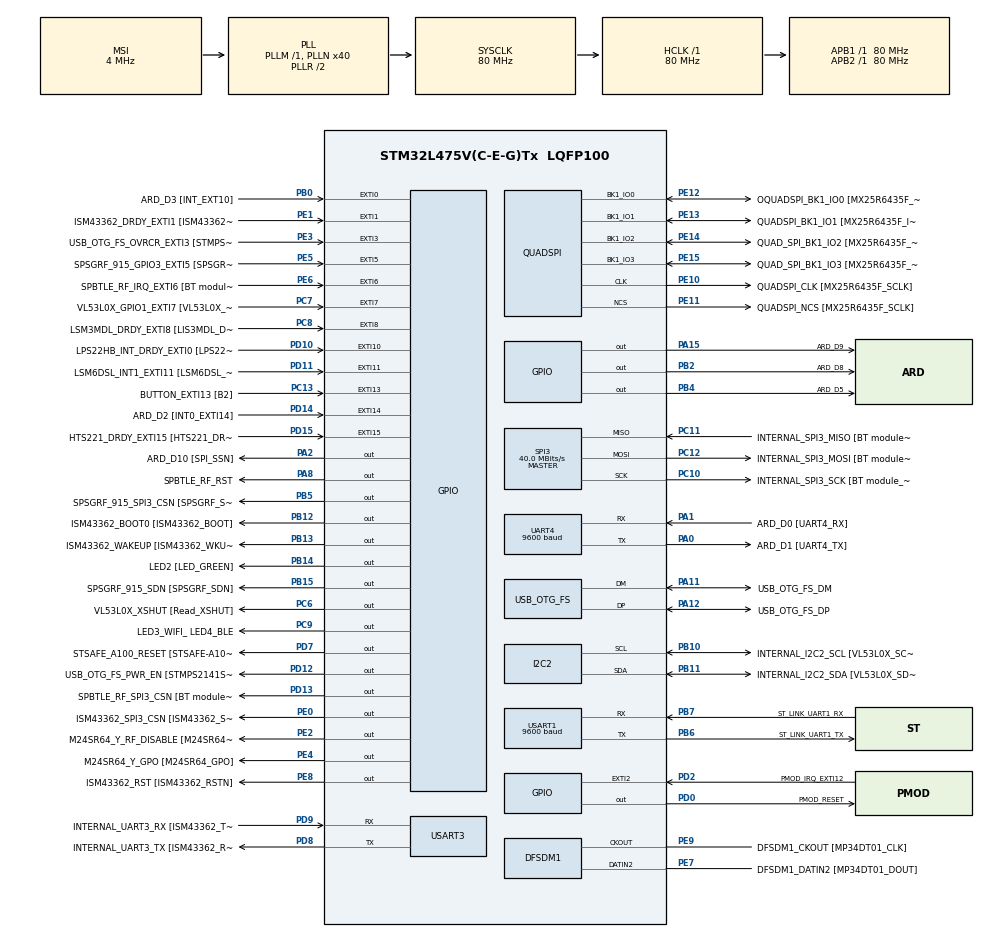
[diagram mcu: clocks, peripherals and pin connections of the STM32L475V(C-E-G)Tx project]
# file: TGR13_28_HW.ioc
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Mcu.Family=STM32L4
Mcu.Name=STM32L475V(C-E-G)Tx
Mcu.Package=LQFP100
NVIC.PriorityGroup=NVIC_PRIORITYGROUP_4
NVIC.TIM6_DAC_IRQn=true\:1\:0\:true\:false\:true\:true
NVIC.UART4_IRQn=true\:3\:0\:true\:false\:true\:true
NVIC.USART1_IRQn=true\:2\:0\:true\:false\:true\:true
PA0.GPIO_Label=ARD_D1 [UART4_TX]
PA0.Mode=Asynchronous
PA0.Signal=UART4_TX
PA1.GPIO_Label=ARD_D0 [UART4_RX]
PA1.Mode=Asynchronous
PA1.Signal=UART4_RX
PA10.GPIO_Label=USB_OTG_FS_ID
PA10.Signal=USB_OTG_FS_ID
PA11.GPIO_Label=USB_OTG_FS_DM
PA11.Mode=Device_Only
PA11.Signal=USB_OTG_FS_DM
PA12.GPIO_Label=USB_OTG_FS_DP
PA12.Mode=Device_Only
PA12.Signal=USB_OTG_FS_DP
PA13\ (JTMS-SWDIO).GPIO_Label=SYS_JTMS_SWDIO
PA13\ (JTMS-SWDIO).Mode=Serial_Wire
PA13\ (JTMS-SWDIO).Signal=SYS_JTMS-SWDIO
PA14\ (JTCK-SWCLK).GPIO_Label=SYS_JTCK_SWCLK
PA14\ (JTCK-SWCLK).Mode=Serial_Wire
PA14\ (JTCK-SWCLK).Signal=SYS_JTCK-SWCLK
PA15\ (JTDI).GPIO_Label=ARD_D9
PA15\ (JTDI).Signal=GPIO_Output
PA2.GPIO_Label=ARD_D10 [SPI_SSN]
PA2.Signal=GPIO_Output
PA3.GPIO_Label=ARD_D4
PA3.Signal=S_TIM2_CH4
PA4.GPIO_Label=ARD_D7
PA4.Signal=ADCx_IN9
PA5.GPIO_Label=ARD_D13 [SPI1_SCK]
PA5.Signal=SPI1_SCK
PA6.GPIO_Label=ARD_D12 [SPI1_MISO]
PA6.Signal=SPI1_MISO
PA7.GPIO_Label=ARD_D11 [SPI1_MOSI]
PA7.Signal=SPI1_MOSI
PA8.GPIO_Label=SPBTLE_RF_RST
PA8.Signal=GPIO_Output
PA9.GPIO_Label=USB_OTG_FS_VBUS [STMPS2141STR_OUT]
PA9.Signal=USB_OTG_FS_VBUS
PB0.GPIO_Label=ARD_D3 [INT_EXT10]
PB0.Signal=GPXTI0
PB1.GPIO_Label=ARD_D6 [ADC1_IN6]
PB1.Signal=ADCx_IN16
PB10.GPIO_Label=INTERNAL_I2C2_SCL [VL53L0X_SCL]
PB10.Mode=I2C
PB10.Signal=I2C2_SCL
PB11.GPIO_Label=INTERNAL_I2C2_SDA [VL53L0X_SDA]
PB11.Mode=I2C
PB11.Signal=I2C2_SDA
PB12.GPIO_Label=ISM43362_BOOT0 [ISM43362_BOOT]
PB12.Signal=GPIO_Output
PB13.GPIO_Label=ISM43362_WAKEUP [ISM43362_WKUP]
PB13.Signal=GPIO_Output
PB14.GPIO_Label=LED2 [LED_GREEN]
PB14.Signal=GPIO_Output
PB15.GPIO_Label=SPSGRF_915_SDN [SPSGRF_SDN]
PB15.Signal=GPIO_Output
PB2.GPIO_Label=ARD_D8
PB2.Signal=GPIO_Output
PB3\ (JTDO-TRACESWO).GPIO_Label=SYS_JTD0_SWO
PB3\ (JTDO-TRACESWO).Signal=SYS_JTDO-SWO
PB4\ (NJTRST).GPIO_Label=ARD_D5
PB4\ (NJTRST).Signal=GPIO_Output
PB5.GPIO_Label=SPSGRF_915_SPI3_CSN [SPSGRF_SPI_CS]
PB5.Signal=GPIO_Output
PB6.GPIO_Label=ST_LINK_UART1_TX
PB6.Mode=Asynchronous
PB6.Signal=USART1_TX
PB7.GPIO_Label=ST_LINK_UART1_RX
PB7.Mode=Asynchronous
PB7.Signal=USART1_RX
PB8.GPIO_Label=ARD_D15 [I2C1_SCL]
PB8.Signal=I2C1_SCL
PB9.GPIO_Label=ARD_D14 [I2C1_SDA]
PB9.Signal=I2C1_SDA
PC0.GPIO_Label=ARD_A5 [ADC]
PC0.Signal=ADCx_IN1
PC1.GPIO_Label=ARD_A4 [ADC]
PC1.Signal=ADCx_IN2
PC10.GPIO_Label=INTERNAL_SPI3_SCK [BT module_SPI_SCLK]
PC10.Mode=Full_Duplex_Master
PC10.Signal=SPI3_SCK
PC11.GPIO_Label=INTERNAL_SPI3_MISO [BT module_SPI_MISO]
PC11.Mode=Full_Duplex_Master
PC11.Signal=SPI3_MISO
PC12.GPIO_Label=INTERNAL_SPI3_MOSI [BT module_SPI_MOSI]
PC12.Mode=Full_Duplex_Master
PC12.Signal=SPI3_MOSI
PC13.GPIO_Label=BUTTON_EXTI13 [B2]
PC13.GPIO_ModeDefaultEXTI=GPIO_MODE_IT_FALLING
PC13.Signal=GPXTI13
PC14-OSC32_IN\ (PC14).Mode=LSE-External-Oscillator
PC14-OSC32_IN\ (PC14).Signal=RCC_OSC32_IN
PC15-OSC32_OUT\ (PC15).Mode=LSE-External-Oscillator
PC15-OSC32_OUT\ (PC15).Signal=RCC_OSC32_OUT
PC2.GPIO_Label=ARD_A3 [ADC]
PC2.Signal=ADCx_IN3
PC3.GPIO_Label=ARD_A2 [ADC]
PC3.Signal=ADCx_IN4
PC4.GPIO_Label=ARD_A1 [ADC]
PC4.Signal=ADCx_IN13
PC5.GPIO_Label=ARD_A0 [ADC]
PC5.Signal=ADCx_IN14
PC6.GPIO_Label=VL53L0X_XSHUT [Read_XSHUT]
PC6.Signal=GPIO_Output
PC7.GPIO_Label=VL53L0X_GPIO1_EXTI7 [VL53L0X_GPIO1]
PC7.Signal=GPXTI7
PC8.GPIO_Label=LSM3MDL_DRDY_EXTI8 [LIS3MDL_DRDY]
PC8.Signal=GPXTI8
PC9.GPIO_Label=LED3_WIFI_ LED4_BLE
PC9.Signal=GPIO_Output
PD0.GPIO_Label=PMOD_RESET
PD0.Signal=GPIO_Output
PD1.GPIO_Label=PMOD_SPI2_SCK
PD1.Signal=SPI2_SCK
PD10.GPIO_Label=LPS22HB_INT_DRDY_EXTI0 [LPS22HB_INT_DRDY] 
PD10.Signal=GPXTI10
PD11.GPIO_Label=LSM6DSL_INT1_EXTI11 [LSM6DSL_INT1]
PD11.Signal=GPXTI11
PD12.GPIO_Label=USB_OTG_FS_PWR_EN [STMPS2141STR_EN]
PD12.Signal=GPIO_Output
PD13.GPIO_Label=SPBTLE_RF_SPI3_CSN [BT module_SPI_CS]
PD13.Signal=GPIO_Output
PD14.GPIO_Label=ARD_D2 [INT0_EXTI14]
PD14.Signal=GPXTI14
PD15.GPIO_Label=HTS221_DRDY_EXTI15 [HTS221_DRDY]
PD15.Signal=GPXTI15
PD2.GPIO_Label=PMOD_IRQ_EXTI12
PD2.Signal=GPXTI2
PD3.GPIO_Label=PMOD_UART2_CTS
PD3.Signal=USART2_CTS
PD4.GPIO_Label=PMOD_UART2_RTS
PD4.Signal=USART2_RTS
PD5.GPIO_Label=PMOD_UART2_TX
PD5.Signal=USART2_TX
PD6.GPIO_Label=PMOD_UART2_RX
PD6.Signal=USART2_RX
PD7.GPIO_Label=STSAFE_A100_RESET [STSAFE-A100_RESET]
PD7.Signal=GPIO_Output
PD8.GPIO_Label=INTERNAL_UART3_TX [ISM43362_RX]
PD8.Mode=Asynchronous
PD8.Signal=USART3_TX
PD9.GPIO_Label=INTERNAL_UART3_RX [ISM43362_TX]
PD9.Mode=Asynchronous
PD9.Signal=USART3_RX
PE0.GPIO_Label=ISM43362_SPI3_CSN [ISM43362_SSN]
PE0.Signal=GPIO_Output
PE1.GPIO_Label=ISM43362_DRDY_EXTI1 [ISM43362_DATARDY]
PE1.Signal=GPXTI1
PE10.GPIO_Label=QUADSPI_CLK [MX25R6435F_SCLK]
PE10.Mode=Single Bank
PE10.Signal=QUADSPI_CLK
PE11.GPIO_Label=QUADSPI_NCS [MX25R6435F_SCLK]
PE11.Mode=Single Bank
PE11.Signal=QUADSPI_NCS
PE12.GPIO_Label=OQUADSPI_BK1_IO0 [MX25R6435F_IO0]
PE12.Mode=Single Bank
PE12.Signal=QUADSPI_BK1_IO0
PE13.GPIO_Label=QUADSPI_BK1_IO1 [MX25R6435F_IO1]
PE13.Mode=Single Bank
PE13.Signal=QUADSPI_BK1_IO1
PE14.GPIO_Label=QUAD_SPI_BK1_IO2 [MX25R6435F_IO2]
PE14.Mode=Single Bank
PE14.Signal=QUADSPI_BK1_IO2
PE15.GPIO_Label=QUAD_SPI_BK1_IO3 [MX25R6435F_IO3]
PE15.Mode=Single Bank
PE15.Signal=QUADSPI_BK1_IO3
PE2.GPIO_Label=M24SR64_Y_RF_DISABLE [M24SR64_RFDIS]
PE2.Signal=GPIO_Output
PE3.GPIO_Label=USB_OTG_FS_OVRCR_EXTI3 [STMPS2141STR_FAULT]
PE3.Signal=GPXTI3
PE4.GPIO_Label=M24SR64_Y_GPO [M24SR64_GPO]
PE4.Signal=GPIO_Output
PE5.GPIO_Label=SPSGRF_915_GPIO3_EXTI5 [SPSGRF_GPIO_3]
PE5.Signal=GPXTI5
PE6.GPIO_Label=SPBTLE_RF_IRQ_EXTI6 [BT module_SPI_IRQ]
PE6.Signal=GPXTI6
PE7.GPIO_Label=DFSDM1_DATIN2 [MP34DT01_DOUT]
PE7.Signal=S_DATAIN2DFSDM1
PE8.GPIO_Label=ISM43362_RST [ISM43362_RSTN]
PE8.Signal=GPIO_Output
PE9.GPIO_Label=DFSDM1_CKOUT [MP34DT01_CLK]
PE9.Signal=S_CKOUTDFSDM1
ProjectManager.HeapSize=0x200
ProjectManager.StackSize=0x400
ProjectManager.TargetToolchain=TrueSTUDIO
RCC.ADCFreq_Value=48000000
RCC.AHBFreq_Value=80000000
RCC.APB1Freq_Value=80000000
RCC.APB1TimFreq_Value=80000000
RCC.APB2Freq_Value=80000000
RCC.APB2TimFreq_Value=80000000
RCC.CortexFreq_Value=80000000
RCC.HCLKFreq_Value=80000000
RCC.HSE_VALUE=8000000
RCC.HSI_VALUE=16000000
RCC.MSI_VALUE=4000000
RCC.PLLN=40
RCC.PLLSAI1N=24
RCC.SYSCLKFreq_VALUE=80000000
RCC.SYSCLKSource=RCC_SYSCLKSOURCE_PLLCLK
RCC.USBFreq_Value=48000000
RCC.VCOOutputFreq_Value=160000000
SH.ADCx_IN1.0=ADC1_IN1
SH.ADCx_IN13.0=ADC1_IN13
SH.ADCx_IN14.0=ADC1_IN14
SH.ADCx_IN16.0=ADC1_IN16
SH.ADCx_IN2.0=ADC1_IN2
SH.ADCx_IN3.0=ADC1_IN3
SH.ADCx_IN4.0=ADC1_IN4
SH.ADCx_IN9.0=ADC1_IN9
SH.S_CKOUTDFSDM1.0=DFSDM1_CKOUT,CKOUT
SH.S_CKOUTDFSDM1.1=DFSDM1_CKOUT,PDM_SPI_Input_from_ch12_and_Internal_Clock
SH.S_DATAIN2DFSDM1.0=DFSDM1_DATIN2,PDM_SPI_Input_from_ch12_and_Internal_Clock
SH.S_TIM2_CH4.0=TIM2_CH4
SPI3.CalculateBaudRate=40.0 MBits/s
SPI3.Direction=SPI_DIRECTION_2LINES
SPI3.Mode=SPI_MODE_MASTER
SPI3.VirtualType=VM_MASTER
TIM6.Period=40000
TIM6.Prescaler=999
UART4.BaudRate=9600
USART1.BaudRate=9600
USART1.VirtualMode-Asynchronous=VM_ASYNC
USART3.VirtualMode-Asynchronous=VM_ASYNC
USB_OTG_FS.VirtualMode=Device_Only
VP_TIM6_VS_ClockSourceINT.Mode=Enable_Timer
board=B-L475E-IOT01A

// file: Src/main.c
/* USER CODE BEGIN Header */
/**
  ******************************************************************************
  * @file           : main.c
  * @brief          : Main program body
  ******************************************************************************
  ** This notice applies to any and all portions of this file
  * that are not between comment pairs USER CODE BEGIN and
  * USER CODE END. Other portions of this file, whether
  * inserted by the user or by software development tools
  * are owned by their respective copyright owners.
  *
  * COPYRIGHT(c) 2019 STMicroelectronics
  *
  * Redistribution and use in source and binary forms, with or without modification,
  * are permitted provided that the following conditions are met:
  *   1. Redistributions of source code must retain the above copyright notice,
  *      this list of conditions and the following disclaimer.
  *   2. Redistributions in binary form must reproduce the above copyright notice,
  *      this list of conditions and the following disclaimer in the documentation
  *      and/or other materials provided with the distribution.
  *   3. Neither the name of STMicroelectronics nor the names of its contributors
  *      may be used to endorse or promote products derived from this software
  *      without specific prior written permission.
  *
  * THIS SOFTWARE IS PROVIDED BY THE COPYRIGHT HOLDERS AND CONTRIBUTORS "AS IS"
  * AND ANY EXPRESS OR IMPLIED WARRANTIES, INCLUDING, BUT NOT LIMITED TO, THE
  * IMPLIED WARRANTIES OF MERCHANTABILITY AND FITNESS FOR A PARTICULAR PURPOSE ARE
  * DISCLAIMED. IN NO EVENT SHALL THE COPYRIGHT HOLDER OR CONTRIBUTORS BE LIABLE
  * FOR ANY DIRECT, INDIRECT, INCIDENTAL, SPECIAL, EXEMPLARY, OR CONSEQUENTIAL
  * DAMAGES (INCLUDING, BUT NOT LIMITED TO, PROCUREMENT OF SUBSTITUTE GOODS OR
  * SERVICES; LOSS OF USE, DATA, OR PROFITS; OR BUSINESS INTERRUPTION) HOWEVER
  * CAUSED AND ON ANY THEORY OF LIABILITY, WHETHER IN CONTRACT, STRICT LIABILITY,
  * OR TORT (INCLUDING NEGLIGENCE OR OTHERWISE) ARISING IN ANY WAY OUT OF THE USE
  * OF THIS SOFTWARE, EVEN IF ADVISED OF THE POSSIBILITY OF SUCH DAMAGE.
  *
  ******************************************************************************
  */
/* USER CODE END Header */

#include "main.h"

/* USER CODE BEGIN Includes */
#include "stm32l475e_iot01.h"
#include "stm32l475e_iot01_tsensor.h"
#include "stm32l475e_iot01_hsensor.h"
#include <stdio.h>
#include <string.h>

/* USER CODE END Includes */

DFSDM_Channel_HandleTypeDef hdfsdm1_channel1;

I2C_HandleTypeDef hi2c2;

QSPI_HandleTypeDef hqspi;

SPI_HandleTypeDef hspi3;

TIM_HandleTypeDef htim6;

UART_HandleTypeDef huart4;
UART_HandleTypeDef huart1;
UART_HandleTypeDef huart3;

PCD_HandleTypeDef hpcd_USB_OTG_FS;

void SystemClock_Config(void);
static void MX_GPIO_Init(void);
static void MX_DFSDM1_Init(void);
static void MX_I2C2_Init(void);
static void MX_QUADSPI_Init(void);
static void MX_SPI3_Init(void);
static void MX_USART1_UART_Init(void);
static void MX_USART3_UART_Init(void);
static void MX_USB_OTG_FS_PCD_Init(void);
static void MX_TIM6_Init(void);
static void MX_UART4_Init(void);

/* USER CODE BEGIN 0 */
float Temp_Value;
extern uint8_t RX_BUFF1[0];
extern uint8_t RX_BUFF4[0];
/* USER CODE END 0 */

int main(void)
{

  /* MCU Configuration--------------------------------------------------------*/

  /* Reset of all peripherals, Initializes the Flash interface and the Systick. */
  HAL_Init();

  /* Configure the system clock */
  SystemClock_Config();

  /* Initialize all configured peripherals */
  MX_GPIO_Init();
  MX_DFSDM1_Init();
  MX_I2C2_Init();
  MX_QUADSPI_Init();
  MX_SPI3_Init();
  MX_USART1_UART_Init();
  MX_USART3_UART_Init();
  MX_USB_OTG_FS_PCD_Init();
  MX_TIM6_Init();
  MX_UART4_Init();
  /* USER CODE BEGIN 2 */
  BSP_TSENSOR_Init();

  HAL_UART_Transmit(&huart1,(uint8_t*)"\r\nAT\r\n",6,5000);
  __HAL_UART_ENABLE_IT(&huart1,UART_IT_RXNE);
  HAL_UART_Transmit(&huart4,(uint8_t*)"\r\nAT\r\n",6,5000);
  __HAL_UART_ENABLE_IT(&huart4,UART_IT_RXNE);
  HAL_TIM_Base_Start_IT(&htim6);
  /* USER CODE END 2 */

  /* Infinite loop */
  while (1)
  {

  }
}

void SystemClock_Config(void)
{
  RCC_OscInitTypeDef RCC_OscInitStruct = {0};
  RCC_ClkInitTypeDef RCC_ClkInitStruct = {0};
  RCC_PeriphCLKInitTypeDef PeriphClkInit = {0};

  /**Configure LSE Drive Capability
  */
  HAL_PWR_EnableBkUpAccess();
  __HAL_RCC_LSEDRIVE_CONFIG(RCC_LSEDRIVE_LOW);
  /**Initializes the CPU, AHB and APB busses clocks
  */
  RCC_OscInitStruct.OscillatorType = RCC_OSCILLATORTYPE_LSE|RCC_OSCILLATORTYPE_MSI;
  RCC_OscInitStruct.LSEState = RCC_LSE_ON;
  RCC_OscInitStruct.MSIState = RCC_MSI_ON;
  RCC_OscInitStruct.MSICalibrationValue = 0;
  RCC_OscInitStruct.MSIClockRange = RCC_MSIRANGE_6;
  RCC_OscInitStruct.PLL.PLLState = RCC_PLL_ON;
  RCC_OscInitStruct.PLL.PLLSource = RCC_PLLSOURCE_MSI;
  RCC_OscInitStruct.PLL.PLLM = 1;
  RCC_OscInitStruct.PLL.PLLN = 40;
  RCC_OscInitStruct.PLL.PLLP = RCC_PLLP_DIV7;
  RCC_OscInitStruct.PLL.PLLQ = RCC_PLLQ_DIV2;
  RCC_OscInitStruct.PLL.PLLR = RCC_PLLR_DIV2;
  if (HAL_RCC_OscConfig(&RCC_OscInitStruct) != HAL_OK)
  {
    Error_Handler();
  }
  /**Initializes the CPU, AHB and APB busses clocks
  */
  RCC_ClkInitStruct.ClockType = RCC_CLOCKTYPE_HCLK|RCC_CLOCKTYPE_SYSCLK
                              |RCC_CLOCKTYPE_PCLK1|RCC_CLOCKTYPE_PCLK2;
  RCC_ClkInitStruct.SYSCLKSource = RCC_SYSCLKSOURCE_PLLCLK;
  RCC_ClkInitStruct.AHBCLKDivider = RCC_SYSCLK_DIV1;
  RCC_ClkInitStruct.APB1CLKDivider = RCC_HCLK_DIV1;
  RCC_ClkInitStruct.APB2CLKDivider = RCC_HCLK_DIV1;

  if (HAL_RCC_ClockConfig(&RCC_ClkInitStruct, FLASH_LATENCY_4) != HAL_OK)
  {
    Error_Handler();
  }
  PeriphClkInit.PeriphClockSelection = RCC_PERIPHCLK_USART1|RCC_PERIPHCLK_USART3
                              |RCC_PERIPHCLK_UART4|RCC_PERIPHCLK_I2C2
                              |RCC_PERIPHCLK_DFSDM1|RCC_PERIPHCLK_USB;
  PeriphClkInit.Usart1ClockSelection = RCC_USART1CLKSOURCE_PCLK2;
  PeriphClkInit.Usart3ClockSelection = RCC_USART3CLKSOURCE_PCLK1;
  PeriphClkInit.Uart4ClockSelection = RCC_UART4CLKSOURCE_PCLK1;
  PeriphClkInit.I2c2ClockSelection = RCC_I2C2CLKSOURCE_PCLK1;
  PeriphClkInit.Dfsdm1ClockSelection = RCC_DFSDM1CLKSOURCE_PCLK;
  PeriphClkInit.UsbClockSelection = RCC_USBCLKSOURCE_PLLSAI1;
  PeriphClkInit.PLLSAI1.PLLSAI1Source = RCC_PLLSOURCE_MSI;
  PeriphClkInit.PLLSAI1.PLLSAI1M = 1;
  PeriphClkInit.PLLSAI1.PLLSAI1N = 24;
  PeriphClkInit.PLLSAI1.PLLSAI1P = RCC_PLLP_DIV7;
  PeriphClkInit.PLLSAI1.PLLSAI1Q = RCC_PLLQ_DIV2;
  PeriphClkInit.PLLSAI1.PLLSAI1R = RCC_PLLR_DIV2;
  PeriphClkInit.PLLSAI1.PLLSAI1ClockOut = RCC_PLLSAI1_48M2CLK;
  if (HAL_RCCEx_PeriphCLKConfig(&PeriphClkInit) != HAL_OK)
  {
    Error_Handler();
  }
  /**Configure the main internal regulator output voltage
  */
  if (HAL_PWREx_ControlVoltageScaling(PWR_REGULATOR_VOLTAGE_SCALE1) != HAL_OK)
  {
    Error_Handler();
  }
  /**Enable MSI Auto calibration
  */
  HAL_RCCEx_EnableMSIPLLMode();
}

static void MX_DFSDM1_Init(void)
{

  hdfsdm1_channel1.Instance = DFSDM1_Channel1;
  hdfsdm1_channel1.Init.OutputClock.Activation = ENABLE;
  hdfsdm1_channel1.Init.OutputClock.Selection = DFSDM_CHANNEL_OUTPUT_CLOCK_SYSTEM;
  hdfsdm1_channel1.Init.OutputClock.Divider = 2;
  hdfsdm1_channel1.Init.Input.Multiplexer = DFSDM_CHANNEL_EXTERNAL_INPUTS;
  hdfsdm1_channel1.Init.Input.DataPacking = DFSDM_CHANNEL_STANDARD_MODE;
  hdfsdm1_channel1.Init.Input.Pins = DFSDM_CHANNEL_FOLLOWING_CHANNEL_PINS;
  hdfsdm1_channel1.Init.SerialInterface.Type = DFSDM_CHANNEL_SPI_RISING;
  hdfsdm1_channel1.Init.SerialInterface.SpiClock = DFSDM_CHANNEL_SPI_CLOCK_INTERNAL;
  hdfsdm1_channel1.Init.Awd.FilterOrder = DFSDM_CHANNEL_FASTSINC_ORDER;
  hdfsdm1_channel1.Init.Awd.Oversampling = 1;
  hdfsdm1_channel1.Init.Offset = 0;
  hdfsdm1_channel1.Init.RightBitShift = 0x00;
  if (HAL_DFSDM_ChannelInit(&hdfsdm1_channel1) != HAL_OK)
  {
    Error_Handler();
  }

}

static void MX_I2C2_Init(void)
{

  hi2c2.Instance = I2C2;
  hi2c2.Init.Timing = 0x10909CEC;
  hi2c2.Init.OwnAddress1 = 0;
  hi2c2.Init.AddressingMode = I2C_ADDRESSINGMODE_7BIT;
  hi2c2.Init.DualAddressMode = I2C_DUALADDRESS_DISABLE;
  hi2c2.Init.OwnAddress2 = 0;
  hi2c2.Init.OwnAddress2Masks = I2C_OA2_NOMASK;
  hi2c2.Init.GeneralCallMode = I2C_GENERALCALL_DISABLE;
  hi2c2.Init.NoStretchMode = I2C_NOSTRETCH_DISABLE;
  if (HAL_I2C_Init(&hi2c2) != HAL_OK)
  {
    Error_Handler();
  }
  /**Configure Analogue filter
  */
  if (HAL_I2CEx_ConfigAnalogFilter(&hi2c2, I2C_ANALOGFILTER_ENABLE) != HAL_OK)
  {
    Error_Handler();
  }
  /**Configure Digital filter
  */
  if (HAL_I2CEx_ConfigDigitalFilter(&hi2c2, 0) != HAL_OK)
  {
    Error_Handler();
  }

}

static void MX_QUADSPI_Init(void)
{

  /* QUADSPI parameter configuration*/
  hqspi.Instance = QUADSPI;
  hqspi.Init.ClockPrescaler = 255;
  hqspi.Init.FifoThreshold = 1;
  hqspi.Init.SampleShifting = QSPI_SAMPLE_SHIFTING_NONE;
  hqspi.Init.FlashSize = 1;
  hqspi.Init.ChipSelectHighTime = QSPI_CS_HIGH_TIME_1_CYCLE;
  hqspi.Init.ClockMode = QSPI_CLOCK_MODE_0;
  if (HAL_QSPI_Init(&hqspi) != HAL_OK)
  {
    Error_Handler();
  }

}

static void MX_SPI3_Init(void)
{

  /* SPI3 parameter configuration*/
  hspi3.Instance = SPI3;
  hspi3.Init.Mode = SPI_MODE_MASTER;
  hspi3.Init.Direction = SPI_DIRECTION_2LINES;
  hspi3.Init.DataSize = SPI_DATASIZE_4BIT;
  hspi3.Init.CLKPolarity = SPI_POLARITY_LOW;
  hspi3.Init.CLKPhase = SPI_PHASE_1EDGE;
  hspi3.Init.NSS = SPI_NSS_SOFT;
  hspi3.Init.BaudRatePrescaler = SPI_BAUDRATEPRESCALER_2;
  hspi3.Init.FirstBit = SPI_FIRSTBIT_MSB;
  hspi3.Init.TIMode = SPI_TIMODE_DISABLE;
  hspi3.Init.CRCCalculation = SPI_CRCCALCULATION_DISABLE;
  hspi3.Init.CRCPolynomial = 7;
  hspi3.Init.CRCLength = SPI_CRC_LENGTH_DATASIZE;
  hspi3.Init.NSSPMode = SPI_NSS_PULSE_ENABLE;
  if (HAL_SPI_Init(&hspi3) != HAL_OK)
  {
    Error_Handler();
  }

}

static void MX_TIM6_Init(void)
{

  TIM_MasterConfigTypeDef sMasterConfig = {0};

  htim6.Instance = TIM6;
  htim6.Init.Prescaler = 999;
  htim6.Init.CounterMode = TIM_COUNTERMODE_UP;
  htim6.Init.Period = 40000;
  htim6.Init.AutoReloadPreload = TIM_AUTORELOAD_PRELOAD_DISABLE;
  if (HAL_TIM_Base_Init(&htim6) != HAL_OK)
  {
    Error_Handler();
  }
  sMasterConfig.MasterOutputTrigger = TIM_TRGO_RESET;
  sMasterConfig.MasterSlaveMode = TIM_MASTERSLAVEMODE_DISABLE;
  if (HAL_TIMEx_MasterConfigSynchronization(&htim6, &sMasterConfig) != HAL_OK)
  {
    Error_Handler();
  }

}

static void MX_UART4_Init(void)
{

  huart4.Instance = UART4;
  huart4.Init.BaudRate = 9600;
  huart4.Init.WordLength = UART_WORDLENGTH_8B;
  huart4.Init.StopBits = UART_STOPBITS_1;
  huart4.Init.Parity = UART_PARITY_NONE;
  huart4.Init.Mode = UART_MODE_TX_RX;
  huart4.Init.HwFlowCtl = UART_HWCONTROL_NONE;
  huart4.Init.OverSampling = UART_OVERSAMPLING_16;
  huart4.Init.OneBitSampling = UART_ONE_BIT_SAMPLE_DISABLE;
  huart4.AdvancedInit.AdvFeatureInit = UART_ADVFEATURE_NO_INIT;
  if (HAL_UART_Init(&huart4) != HAL_OK)
  {
    Error_Handler();
  }

}

static void MX_USART1_UART_Init(void)
{

  huart1.Instance = USART1;
  huart1.Init.BaudRate = 9600;
  huart1.Init.WordLength = UART_WORDLENGTH_8B;
  huart1.Init.StopBits = UART_STOPBITS_1;
  huart1.Init.Parity = UART_PARITY_NONE;
  huart1.Init.Mode = UART_MODE_TX_RX;
  huart1.Init.HwFlowCtl = UART_HWCONTROL_NONE;
  huart1.Init.OverSampling = UART_OVERSAMPLING_16;
  huart1.Init.OneBitSampling = UART_ONE_BIT_SAMPLE_DISABLE;
  huart1.AdvancedInit.AdvFeatureInit = UART_ADVFEATURE_NO_INIT;
  if (HAL_UART_Init(&huart1) != HAL_OK)
  {
    Error_Handler();
  }

}

static void MX_USART3_UART_Init(void)
{

  huart3.Instance = USART3;
  huart3.Init.BaudRate = 115200;
  huart3.Init.WordLength = UART_WORDLENGTH_8B;
  huart3.Init.StopBits = UART_STOPBITS_1;
  huart3.Init.Parity = UART_PARITY_NONE;
  huart3.Init.Mode = UART_MODE_TX_RX;
  huart3.Init.HwFlowCtl = UART_HWCONTROL_NONE;
  huart3.Init.OverSampling = UART_OVERSAMPLING_16;
  huart3.Init.OneBitSampling = UART_ONE_BIT_SAMPLE_DISABLE;
  huart3.AdvancedInit.AdvFeatureInit = UART_ADVFEATURE_NO_INIT;
  if (HAL_UART_Init(&huart3) != HAL_OK)
  {
    Error_Handler();
  }

}

static void MX_USB_OTG_FS_PCD_Init(void)
{

  hpcd_USB_OTG_FS.Instance = USB_OTG_FS;
  hpcd_USB_OTG_FS.Init.dev_endpoints = 6;
  hpcd_USB_OTG_FS.Init.speed = PCD_SPEED_FULL;
  hpcd_USB_OTG_FS.Init.ep0_mps = DEP0CTL_MPS_64;
  hpcd_USB_OTG_FS.Init.phy_itface = PCD_PHY_EMBEDDED;
  hpcd_USB_OTG_FS.Init.Sof_enable = DISABLE;
  hpcd_USB_OTG_FS.Init.low_power_enable = DISABLE;
  hpcd_USB_OTG_FS.Init.lpm_enable = DISABLE;
  hpcd_USB_OTG_FS.Init.battery_charging_enable = DISABLE;
  hpcd_USB_OTG_FS.Init.use_dedicated_ep1 = DISABLE;
  hpcd_USB_OTG_FS.Init.vbus_sensing_enable = DISABLE;
  if (HAL_PCD_Init(&hpcd_USB_OTG_FS) != HAL_OK)
  {
    Error_Handler();
  }

}

static void MX_GPIO_Init(void)
{
  GPIO_InitTypeDef GPIO_InitStruct = {0};

  /* GPIO Ports Clock Enable */
  __HAL_RCC_GPIOE_CLK_ENABLE();
  __HAL_RCC_GPIOC_CLK_ENABLE();
  __HAL_RCC_GPIOA_CLK_ENABLE();
  __HAL_RCC_GPIOB_CLK_ENABLE();
  __HAL_RCC_GPIOD_CLK_ENABLE();

  /*Configure GPIO pin Output Level */
  HAL_GPIO_WritePin(GPIOE, M24SR64_Y_RF_DISABLE_Pin|M24SR64_Y_GPO_Pin|ISM43362_RST_Pin|ISM43362_SPI3_CSN_Pin, GPIO_PIN_RESET);

  /*Configure GPIO pin Output Level */
  HAL_GPIO_WritePin(GPIOA, ARD_D10_Pin|SPBTLE_RF_RST_Pin|ARD_D9_Pin, GPIO_PIN_RESET);

  /*Configure GPIO pin Output Level */
  HAL_GPIO_WritePin(GPIOB, ARD_D8_Pin|ISM43362_BOOT0_Pin|ISM43362_WAKEUP_Pin|LED2_Pin
                          |SPSGRF_915_SDN_Pin|ARD_D5_Pin|SPSGRF_915_SPI3_CSN_Pin, GPIO_PIN_RESET);

  /*Configure GPIO pin Output Level */
  HAL_GPIO_WritePin(GPIOD, USB_OTG_FS_PWR_EN_Pin|SPBTLE_RF_SPI3_CSN_Pin|PMOD_RESET_Pin|STSAFE_A100_RESET_Pin, GPIO_PIN_RESET);

  /*Configure GPIO pin Output Level */
  HAL_GPIO_WritePin(GPIOC, VL53L0X_XSHUT_Pin|LED3_WIFI__LED4_BLE_Pin, GPIO_PIN_RESET);

  /*Configure GPIO pins : M24SR64_Y_RF_DISABLE_Pin M24SR64_Y_GPO_Pin ISM43362_RST_Pin ISM43362_SPI3_CSN_Pin */
  GPIO_InitStruct.Pin = M24SR64_Y_RF_DISABLE_Pin|M24SR64_Y_GPO_Pin|ISM43362_RST_Pin|ISM43362_SPI3_CSN_Pin;
  GPIO_InitStruct.Mode = GPIO_MODE_OUTPUT_PP;
  GPIO_InitStruct.Pull = GPIO_NOPULL;
  GPIO_InitStruct.Speed = GPIO_SPEED_FREQ_LOW;
  HAL_GPIO_Init(GPIOE, &GPIO_InitStruct);

  /*Configure GPIO pins : USB_OTG_FS_OVRCR_EXTI3_Pin SPSGRF_915_GPIO3_EXTI5_Pin SPBTLE_RF_IRQ_EXTI6_Pin ISM43362_DRDY_EXTI1_Pin */
  GPIO_InitStruct.Pin = USB_OTG_FS_OVRCR_EXTI3_Pin|SPSGRF_915_GPIO3_EXTI5_Pin|SPBTLE_RF_IRQ_EXTI6_Pin|ISM43362_DRDY_EXTI1_Pin;
  GPIO_InitStruct.Mode = GPIO_MODE_IT_RISING;
  GPIO_InitStruct.Pull = GPIO_NOPULL;
  HAL_GPIO_Init(GPIOE, &GPIO_InitStruct);

  /*Configure GPIO pin : BUTTON_EXTI13_Pin */
  GPIO_InitStruct.Pin = BUTTON_EXTI13_Pin;
  GPIO_InitStruct.Mode = GPIO_MODE_IT_FALLING;
  GPIO_InitStruct.Pull = GPIO_NOPULL;
  HAL_GPIO_Init(BUTTON_EXTI13_GPIO_Port, &GPIO_InitStruct);

  /*Configure GPIO pins : ARD_A5_Pin ARD_A4_Pin ARD_A3_Pin ARD_A2_Pin
                           ARD_A1_Pin ARD_A0_Pin */
  GPIO_InitStruct.Pin = ARD_A5_Pin|ARD_A4_Pin|ARD_A3_Pin|ARD_A2_Pin
                          |ARD_A1_Pin|ARD_A0_Pin;
  GPIO_InitStruct.Mode = GPIO_MODE_ANALOG_ADC_CONTROL;
  GPIO_InitStruct.Pull = GPIO_NOPULL;
  HAL_GPIO_Init(GPIOC, &GPIO_InitStruct);

  /*Configure GPIO pins : ARD_D10_Pin SPBTLE_RF_RST_Pin ARD_D9_Pin */
  GPIO_InitStruct.Pin = ARD_D10_Pin|SPBTLE_RF_RST_Pin|ARD_D9_Pin;
  GPIO_InitStruct.Mode = GPIO_MODE_OUTPUT_PP;
  GPIO_InitStruct.Pull = GPIO_NOPULL;
  GPIO_InitStruct.Speed = GPIO_SPEED_FREQ_LOW;
  HAL_GPIO_Init(GPIOA, &GPIO_InitStruct);

  /*Configure GPIO pin : ARD_D4_Pin */
  GPIO_InitStruct.Pin = ARD_D4_Pin;
  GPIO_InitStruct.Mode = GPIO_MODE_AF_PP;
  GPIO_InitStruct.Pull = GPIO_NOPULL;
  GPIO_InitStruct.Speed = GPIO_SPEED_FREQ_LOW;
  GPIO_InitStruct.Alternate = GPIO_AF1_TIM2;
  HAL_GPIO_Init(ARD_D4_GPIO_Port, &GPIO_InitStruct);

  /*Configure GPIO pin : ARD_D7_Pin */
  GPIO_InitStruct.Pin = ARD_D7_Pin;
  GPIO_InitStruct.Mode = GPIO_MODE_ANALOG_ADC_CONTROL;
  GPIO_InitStruct.Pull = GPIO_NOPULL;
  HAL_GPIO_Init(ARD_D7_GPIO_Port, &GPIO_InitStruct);

  /*Configure GPIO pins : ARD_D13_Pin ARD_D12_Pin ARD_D11_Pin */
  GPIO_InitStruct.Pin = ARD_D13_Pin|ARD_D12_Pin|ARD_D11_Pin;
  GPIO_InitStruct.Mode = GPIO_MODE_AF_PP;
  GPIO_InitStruct.Pull = GPIO_NOPULL;
  GPIO_InitStruct.Speed = GPIO_SPEED_FREQ_VERY_HIGH;
  GPIO_InitStruct.Alternate = GPIO_AF5_SPI1;
  HAL_GPIO_Init(GPIOA, &GPIO_InitStruct);

  /*Configure GPIO pin : ARD_D3_Pin */
  GPIO_InitStruct.Pin = ARD_D3_Pin;
  GPIO_InitStruct.Mode = GPIO_MODE_IT_RISING;
  GPIO_InitStruct.Pull = GPIO_NOPULL;
  HAL_GPIO_Init(ARD_D3_GPIO_Port, &GPIO_InitStruct);

  /*Configure GPIO pin : ARD_D6_Pin */
  GPIO_InitStruct.Pin = ARD_D6_Pin;
  GPIO_InitStruct.Mode = GPIO_MODE_ANALOG_ADC_CONTROL;
  GPIO_InitStruct.Pull = GPIO_NOPULL;
  HAL_GPIO_Init(ARD_D6_GPIO_Port, &GPIO_InitStruct);

  /*Configure GPIO pins : ARD_D8_Pin ISM43362_BOOT0_Pin ISM43362_WAKEUP_Pin LED2_Pin
                           SPSGRF_915_SDN_Pin ARD_D5_Pin SPSGRF_915_SPI3_CSN_Pin */
  GPIO_InitStruct.Pin = ARD_D8_Pin|ISM43362_BOOT0_Pin|ISM43362_WAKEUP_Pin|LED2_Pin
                          |SPSGRF_915_SDN_Pin|ARD_D5_Pin|SPSGRF_915_SPI3_CSN_Pin;
  GPIO_InitStruct.Mode = GPIO_MODE_OUTPUT_PP;
  GPIO_InitStruct.Pull = GPIO_NOPULL;
  GPIO_InitStruct.Speed = GPIO_SPEED_FREQ_LOW;
  HAL_GPIO_Init(GPIOB, &GPIO_InitStruct);

  /*Configure GPIO pins : LPS22HB_INT_DRDY_EXTI0_Pin LSM6DSL_INT1_EXTI11_Pin ARD_D2_Pin HTS221_DRDY_EXTI15_Pin
                           PMOD_IRQ_EXTI12_Pin */
  GPIO_InitStruct.Pin = LPS22HB_INT_DRDY_EXTI0_Pin|LSM6DSL_INT1_EXTI11_Pin|ARD_D2_Pin|HTS221_DRDY_EXTI15_Pin
                          |PMOD_IRQ_EXTI12_Pin;
  GPIO_InitStruct.Mode = GPIO_MODE_IT_RISING;
  GPIO_InitStruct.Pull = GPIO_NOPULL;
  HAL_GPIO_Init(GPIOD, &GPIO_InitStruct);

  /*Configure GPIO pins : USB_OTG_FS_PWR_EN_Pin SPBTLE_RF_SPI3_CSN_Pin PMOD_RESET_Pin STSAFE_A100_RESET_Pin */
  GPIO_InitStruct.Pin = USB_OTG_FS_PWR_EN_Pin|SPBTLE_RF_SPI3_CSN_Pin|PMOD_RESET_Pin|STSAFE_A100_RESET_Pin;
  GPIO_InitStruct.Mode = GPIO_MODE_OUTPUT_PP;
  GPIO_InitStruct.Pull = GPIO_NOPULL;
  GPIO_InitStruct.Speed = GPIO_SPEED_FREQ_LOW;
  HAL_GPIO_Init(GPIOD, &GPIO_InitStruct);

  /*Configure GPIO pins : VL53L0X_XSHUT_Pin LED3_WIFI__LED4_BLE_Pin */
  GPIO_InitStruct.Pin = VL53L0X_XSHUT_Pin|LED3_WIFI__LED4_BLE_Pin;
  GPIO_InitStruct.Mode = GPIO_MODE_OUTPUT_PP;
  GPIO_InitStruct.Pull = GPIO_NOPULL;
  GPIO_InitStruct.Speed = GPIO_SPEED_FREQ_LOW;
  HAL_GPIO_Init(GPIOC, &GPIO_InitStruct);

  /*Configure GPIO pins : VL53L0X_GPIO1_EXTI7_Pin LSM3MDL_DRDY_EXTI8_Pin */
  GPIO_InitStruct.Pin = VL53L0X_GPIO1_EXTI7_Pin|LSM3MDL_DRDY_EXTI8_Pin;
  GPIO_InitStruct.Mode = GPIO_MODE_IT_RISING;
  GPIO_InitStruct.Pull = GPIO_NOPULL;
  HAL_GPIO_Init(GPIOC, &GPIO_InitStruct);

  /*Configure GPIO pin : PMOD_SPI2_SCK_Pin */
  GPIO_InitStruct.Pin = PMOD_SPI2_SCK_Pin;
  GPIO_InitStruct.Mode = GPIO_MODE_AF_PP;
  GPIO_InitStruct.Pull = GPIO_NOPULL;
  GPIO_InitStruct.Speed = GPIO_SPEED_FREQ_VERY_HIGH;
  GPIO_InitStruct.Alternate = GPIO_AF5_SPI2;
  HAL_GPIO_Init(PMOD_SPI2_SCK_GPIO_Port, &GPIO_InitStruct);

  /*Configure GPIO pins : PMOD_UART2_CTS_Pin PMOD_UART2_RTS_Pin PMOD_UART2_TX_Pin PMOD_UART2_RX_Pin */
  GPIO_InitStruct.Pin = PMOD_UART2_CTS_Pin|PMOD_UART2_RTS_Pin|PMOD_UART2_TX_Pin|PMOD_UART2_RX_Pin;
  GPIO_InitStruct.Mode = GPIO_MODE_AF_PP;
  GPIO_InitStruct.Pull = GPIO_NOPULL;
  GPIO_InitStruct.Speed = GPIO_SPEED_FREQ_VERY_HIGH;
  GPIO_InitStruct.Alternate = GPIO_AF7_USART2;
  HAL_GPIO_Init(GPIOD, &GPIO_InitStruct);

  /*Configure GPIO pins : ARD_D15_Pin ARD_D14_Pin */
  GPIO_InitStruct.Pin = ARD_D15_Pin|ARD_D14_Pin;
  GPIO_InitStruct.Mode = GPIO_MODE_AF_OD;
  GPIO_InitStruct.Pull = GPIO_PULLUP;
  GPIO_InitStruct.Speed = GPIO_SPEED_FREQ_VERY_HIGH;
  GPIO_InitStruct.Alternate = GPIO_AF4_I2C1;
  HAL_GPIO_Init(GPIOB, &GPIO_InitStruct);

}

/* USER CODE BEGIN 4 */
void HAL_TIM_PeriodElapsedCallback(TIM_HandleTypeDef *htim)
{
BSP_LED_Toggle(LED2);
}
/* USER CODE END 4 */

void Error_Handler(void)
{
}

/************************ (C) COPYRIGHT STMicroelectronics *****END OF FILE****/
